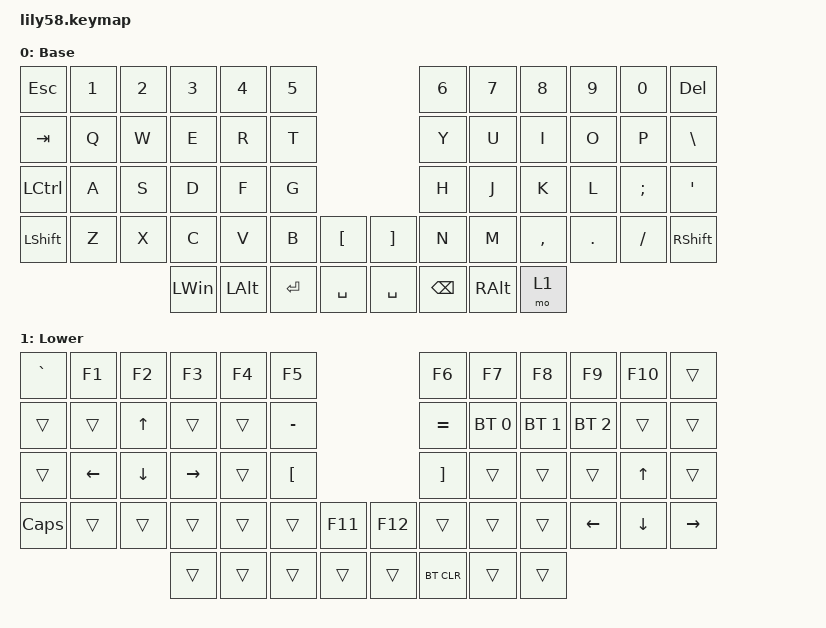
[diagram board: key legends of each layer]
/*
 * Copyright (c) 2020 The ZMK Contributors
 *
 * SPDX-License-Identifier: MIT
 */

#include <behaviors.dtsi>
#include <dt-bindings/zmk/bt.h>
#include <dt-bindings/zmk/keys.h>

/ {
    keymap {
        compatible = "zmk,keymap";

        default_layer {
            // ------------------------------------------------------------------------------------------------------------
            // |  ESC  |  1  |  2  |  3   |  4   |  5   |                   |  6   |  7    |  8    |  9   |   0   |   `   |
            // |  TAB  |  Q  |  W  |  E   |  R   |  T   |                   |  Y   |  U    |  I    |  O   |   P   |   -   |
            // |  CTRL |  A  |  S  |  D   |  F   |  G   |                   |  H   |  J    |  K    |  L   |   ;   |   '   |
            // | SHIFT |  Z  |  X  |  C   |  V   |  B   |   "["  |  |  "]"  |  N   |  M    |  ,    |  .   |   /   | SHIFT |
            //                     | ALT  | GUI  | LOWER|  SPACE |  | ENTER | RAISE| BSPC  | GUI   |

            display-name = "Base";
            bindings = <
&kp ESCAPE  &kp NUMBER_1  &kp NUMBER_2  &kp NUMBER_3  &kp NUMBER_4  &kp N5                             &kp NUMBER_6   &kp N7         &kp N8     &kp N9   &kp N0    &kp DEL
&kp TAB     &kp Q         &kp W         &kp E         &kp R         &kp T                              &kp Y          &kp U          &kp I      &kp O    &kp P     &kp BACKSLASH
&kp LCTRL   &kp A         &kp S         &kp D         &kp F         &kp G                              &kp H          &kp J          &kp K      &kp L    &kp SEMI  &kp SQT
&kp LSHFT   &kp Z         &kp X         &kp C         &kp V         &kp B      &kp LBKT     &kp RBKT   &kp N          &kp M          &kp COMMA  &kp DOT  &kp FSLH  &kp RSHFT
                                        &kp LEFT_WIN  &kp LEFT_ALT  &kp ENTER  &kp SPACE    &kp SPACE  &kp BACKSPACE  &kp RIGHT_ALT  &mo 1
            >;
        };

        lower_layer {
            // ------------------------------------------------------------------------------------------------------------
            // | BTCLR | BT1 | BT2 |  BT3 |  BT4 |  BT5 |                   |      |       |       |      |       |       |
            // |  F1   |  F2 |  F3 |  F4  |  F5  |  F6  |                   |  F7  |  F8   |  F9   |  F10 |  F11  |  F12  |
            // |   `   |  !  |  @  |  #   |  $   |  %   |                   |  ^   |  &    |  *    |  (   |   )   |   ~   |
            // |       |     |     |      |      |      |        |  |       |      |  _    |  +    |  {   |   }   |  "|"  |
            //                     |      |      |      |        |  |       |      |       |       |

            display-name = "Lower";
            bindings = <
&kp GRAVE     &kp F1          &kp F2          &kp F3           &kp F4  &kp F5                                &kp F6             &kp F7        &kp F8        &kp F9          &kp F10         &trans
&trans        &trans          &kp UP_ARROW    &trans           &trans  &kp MINUS                             &kp EQUAL          &bt BT_SEL 0  &bt BT_SEL 1  &bt BT_SEL 2    &trans          &trans
&trans        &kp LEFT_ARROW  &kp DOWN_ARROW  &kp RIGHT_ARROW  &trans  &kp LEFT_BRACKET                      &kp RIGHT_BRACKET  &trans        &trans        &trans          &kp UP_ARROW    &trans
&kp CAPSLOCK  &trans          &trans          &trans           &trans  &trans            &kp F11    &kp F12  &trans             &trans        &trans        &kp LEFT_ARROW  &kp DOWN_ARROW  &kp RIGHT_ARROW
                                              &trans           &trans  &trans            &trans     &trans   &bt BT_CLR         &trans        &trans
            >;
        };
    };
};
